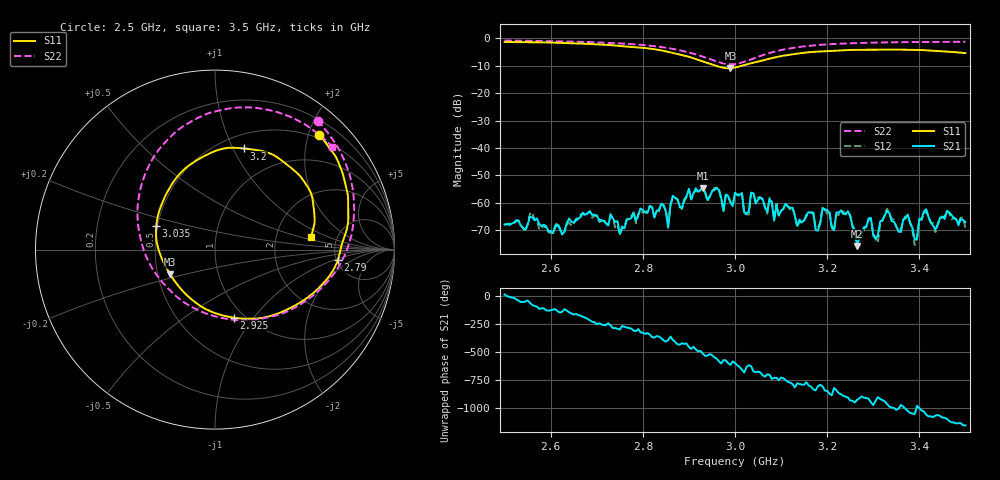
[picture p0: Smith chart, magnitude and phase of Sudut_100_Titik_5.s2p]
# Hz S RI R 50
! CMT, C1220, 16058040, 17.2.0/1
! Date: 15/08/2018 10:24:09
! Data: Format (Calibration Info)
! Freq  S11: Re/Im (F2)  S21: Re/Im (F2)  S12: Re/Im (F2)  S22: Re/Im (F2)
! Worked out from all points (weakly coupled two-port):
!   201 points, 2.5 GHz to 3.5 GHz, reference 50 ohm
!   highest |S21| = -54.52 dB at 2.93 GHz (marker M1); lowest = -75.7 dB at 3.265 GHz (marker M2)
!   lowest |S11| = -10.9 dB at 2.99 GHz (marker M3), VSWR 1.80, Z = 29.1 - j8.68 ohm
!   |S11| at or under -10 dB: 2.959 GHz to 3.014 GHz (54.68 MHz wide, 1.83 % of centre)
!   |S22| runs from -9.4 to -0.7 dB; largest |S21 - S12| = 0.00016
!   S11 on the Smith chart (normalised r, x): 2.5 GHz: 0.44, +2.20; 2.79 GHz: 5.11, -1.15; 2.925 GHz: 0.89, -0.80; 3.035 GHz: 0.49, +0.15; 3.2 GHz: 0.64, +1.10; 3.5 GHz: 3.21, +0.65
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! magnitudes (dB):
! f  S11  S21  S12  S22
! 2.5 GHz  -1.3  -67.9  -68.0  -0.7
! 2.67 GHz  -1.9  -63.6  -63.7  -1.3
! 2.79 GHz  -3.3  -64.3  -64.5  -2.2
! 2.835 GHz  -4.2  -62.5  -62.9  -3.0
! 2.855 GHz  -4.9  -69.0  -68.0  -3.5
! 2.865 GHz  -5.3  -57.4  -58.1  -3.8
! 2.925 GHz  -8.1  -55.2  -55.3  -6.4
! 2.93 GHz  -8.4  -54.5  -54.3  -6.6
! 2.99 GHz  -10.9  -59.8  -59.7  -9.4
! 3 GHz  -10.6  -56.3  -56.3  -9.4
! 3.03 GHz  -9.3  -63.0  -64.2  -7.9
! 3.035 GHz  -9.1  -56.3  -56.3  -7.6
! 3.085 GHz  -7.0  -66.5  -66.0  -4.9
! 3.17 GHz  -4.9  -63.5  -63.8  -2.5
! 3.2 GHz  -4.6  -62.5  -64.0  -2.2
! 3.25 GHz  -4.2  -64.8  -64.4  -1.8
! 3.265 GHz  -4.2  -75.7  -75.8  -1.7
! 3.335 GHz  -4.1  -63.7  -64.3  -1.4
! 3.375 GHz  -4.1  -64.2  -65.0  -1.3
! 3.39 GHz  -4.1  -73.3  -75.4  -1.3
! 3.415 GHz  -4.3  -62.3  -63.1  -1.3
! 3.5 GHz  -5.3  -67.0  -69.1  -1.2
